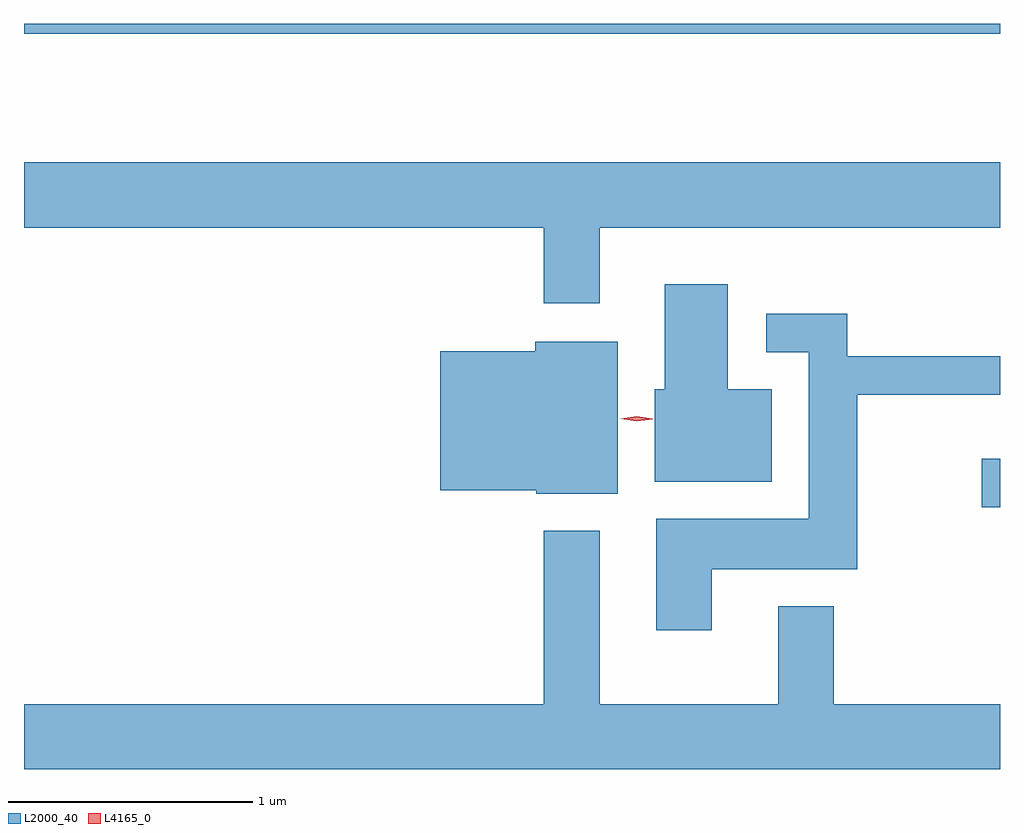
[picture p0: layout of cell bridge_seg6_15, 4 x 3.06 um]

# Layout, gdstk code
import gdstk
lib = gdstk.Library(unit=1e-6, precision=1e-09)
def R(c, l, rs):  # rectangles x0, y0, x1, y1
    for r in rs: c.add(gdstk.rectangle(r[:2], r[2:], *l))
def P(c, l, *ps):  # polygons
    for p in ps: c.add(gdstk.Polygon(p, *l))
L2000_40 = (2000, 40)
L4165_0 = (4165, 0)

bridge_seg6_15 = lib.new_cell('bridge_seg6_15')
R(bridge_seg6_15, L2000_40, [(1441.816,1604.391,1441.89,1604.589), (1437.89,1606.331,1441.89,1606.373)])
P(bridge_seg6_15, L2000_40, [(1440.249,1605.536),(1441.89,1605.536),(1441.89,1605.804),(1437.89,1605.804),(1437.89,1605.536),(1440.021,1605.536),(1440.021,1605.226),(1440.249,1605.226)],
  [(1440.954,1604.874),(1440.774,1604.874),(1440.774,1605.304),(1440.516,1605.304),(1440.516,1604.874),(1440.476,1604.874),(1440.476,1604.496),(1440.954,1604.496)],
  [(1440.709,1604.136),(1441.304,1604.136),(1441.304,1604.851),(1441.89,1604.851),(1441.89,1605.009),(1441.264,1605.009),(1441.264,1605.184),(1440.933,1605.184),(1440.933,1605.026),(1441.106,1605.026),(1441.106,1604.344),(1440.481,1604.344),(1440.481,1603.886),(1440.709,1603.886)],
  [(1440.324,1605.069),(1439.986,1605.069),(1439.986,1605.029),(1439.596,1605.029),(1439.596,1604.461),(1439.99,1604.461),(1439.99,1604.446),(1440.324,1604.446)],
  [(1441.89,1603.584),(1441.209,1603.584),(1441.209,1603.984),(1440.981,1603.984),(1440.981,1603.584),(1440.249,1603.584),(1440.249,1604.294),(1440.021,1604.294),(1440.021,1603.584),(1437.89,1603.584),(1437.89,1603.316),(1441.89,1603.316)])
P(bridge_seg6_15, L4165_0, [(1440.401,1604.743),(1440.335,1604.753),(1440.334,1604.753),(1440.335,1604.754),(1440.401,1604.763),(1440.467,1604.753),(1440.467,1604.753),(1440.467,1604.752)])

lib.write_gds('bridge_seg6_15.gds')
